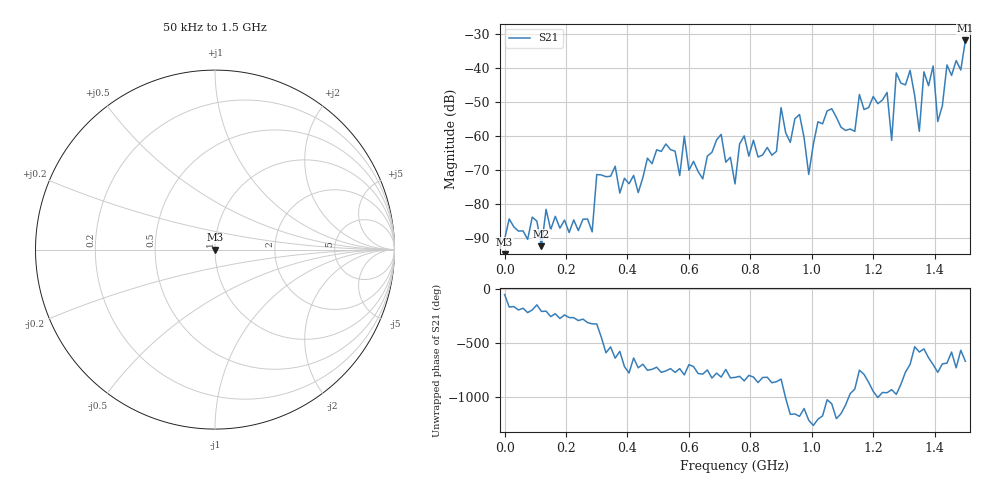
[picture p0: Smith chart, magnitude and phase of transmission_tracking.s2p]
! Created with skrf 1.8.0 (http://scikit-rf.org).
# Hz S RI R 50.0
!freq ReS11 ImS11 ReS21 ImS21 ReS12 ImS12 ReS22 ImS22
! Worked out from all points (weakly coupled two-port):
!   101 points, 50 kHz to 1.5 GHz, reference 50 ohm
!   highest |S21| = -31.84 dB at 1.5 GHz (marker M1); lowest = -92.5 dB at 120 MHz (marker M2)
!   lowest |S11| = - dB at 50 kHz (marker M3), VSWR 1.00, Z = 50 + j0 ohm
!   |S11| at or under -10 dB: start of sweep to end of sweep
!   S12 and S22 are empty: the file has one direction only
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50000  0 0  1.98e-05 -2.27e-05  0 0  0 0
1.20046e8  0 0  -2.13e-05 1.04e-05  0 0  0 0
2.550415e8  0 0  7.31e-06 5.87e-05  0 0  0 0
5.10033e8  0 0  0.000363 -0.000467  0 0  0 0
6.450285e8  0 0  8.63e-05 -0.000216  0 0  0 0
7.050265e8  0 0  -0.000115 -0.00105  0 0  0 0
7.50025e8  0 0  -3.11e-05 -0.000194  0 0  0 0
7.80024e8  0 0  -0.000659 -0.000754  0 0  0 0
8.850205e8  0 0  -0.000448 -0.000389  0 0  0 0
9.0002e8  0 0  -0.00111 -0.00237  0 0  0 0
9.60018e8  0 0  -0.000397 -0.00203  0 0  0 0
9.90017e8  0 0  -0.000198 -0.000185  0 0  0 0
1.005016e9  0 0  -0.000749 7.45e-05  0 0  0 0
1.245008e9  0 0  -0.0021 0.00385  0 0  0 0
1.260008e9  0 0  -0.000723 0.00047  0 0  0 0
1.275008e9  0 0  -0.00193 0.00827  0 0  0 0
1.320006e9  0 0  0.00861 0.00344  0 0  0 0
1.350005e9  0 0  -0.000854 0.0008  0 0  0 0
1.365004e9  0 0  -0.00854 0.00219  0 0  0 0
1.395004e9  0 0  0.0101 0.0037  0 0  0 0
1.410003e9  0 0  0.001 -0.00128  0 0  0 0
1.5e9  0 0  0.0162 0.0198  0 0  0 0
